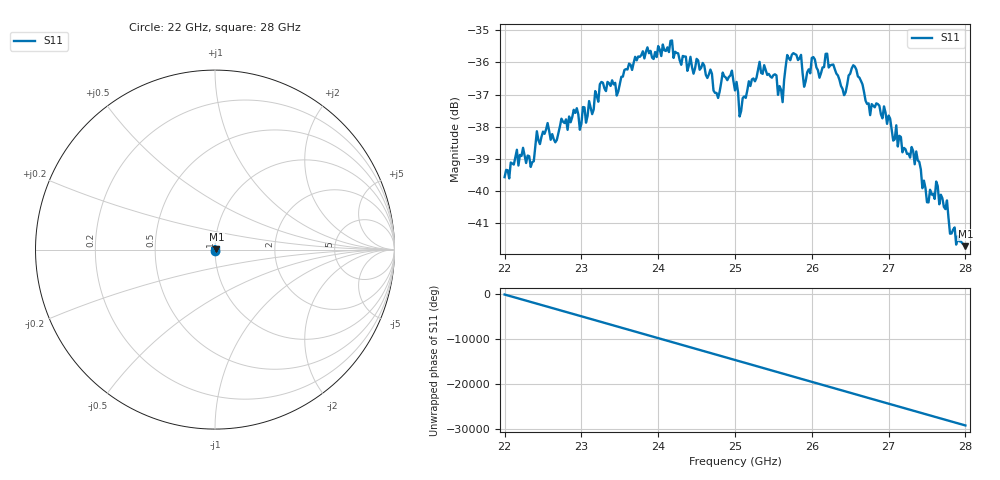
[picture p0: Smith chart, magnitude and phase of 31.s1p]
#  HZ  S  RI  R  50.00
! Rohde & Schwarz ZVA40 4Ports - Version 3.90 - 1145.1110k42 SN: 100403
! Date: 2023-10-04 08:42:34
! Measurement: S12
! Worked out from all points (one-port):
!   301 points, 22 GHz to 28 GHz, reference 50 ohm
!   lowest |S11| = -41.7 dB at 28 GHz (marker M1), VSWR 1.02, Z = 50.8 + j0.314 ohm
!   |S11| at or under -10 dB: start of sweep to end of sweep
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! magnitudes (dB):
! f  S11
! 22 GHz  -39.6
! 22.76 GHz  -37.8
! 22.94 GHz  -37.4
! 22.98 GHz  -38.1
! 23.26 GHz  -36.6
! 23.5 GHz  -36.7
! 23.86 GHz  -35.5
! 24.26 GHz  -35.7
! 25 GHz  -36.9
! 25.06 GHz  -37.7
! 25.32 GHz  -36.0
! 25.62 GHz  -37.2
! 25.68 GHz  -35.8
! 25.76 GHz  -35.7
! 25.86 GHz  -35.8
! 25.9 GHz  -36.8
! 26.02 GHz  -35.8
! 26.1 GHz  -36.5
! 26.2 GHz  -35.7
! 26.42 GHz  -37.0
! 26.5 GHz  -36.3
! 27.26 GHz  -38.8
! 27.36 GHz  -38.8
! 27.5 GHz  -40.4
! 27.62 GHz  -39.7
! 27.76 GHz  -40.3
! 27.8 GHz  -41.3
! 28 GHz  -41.7
